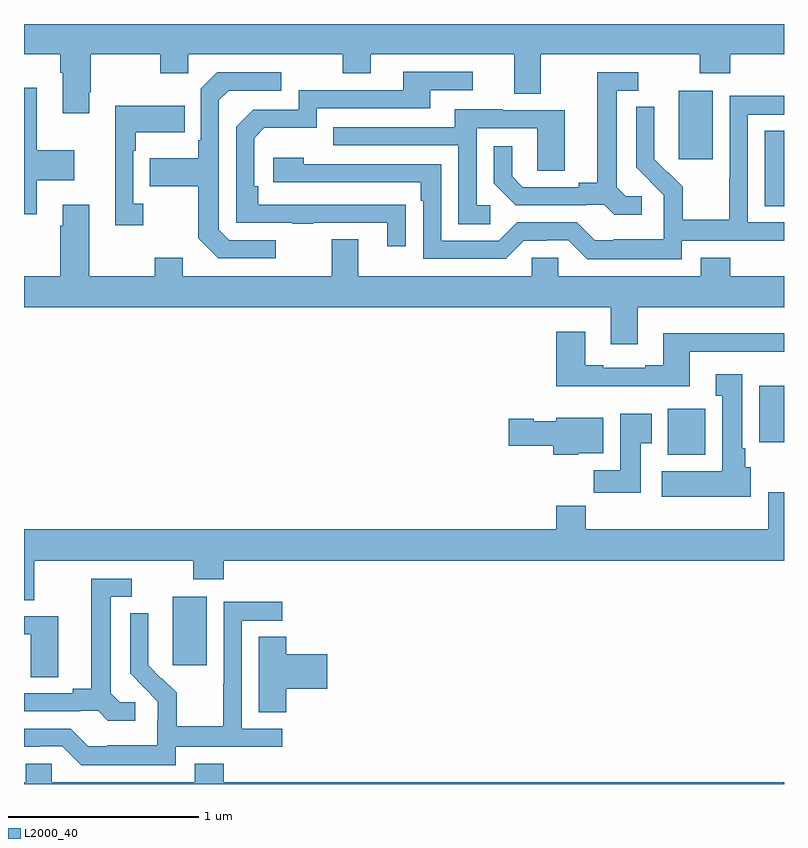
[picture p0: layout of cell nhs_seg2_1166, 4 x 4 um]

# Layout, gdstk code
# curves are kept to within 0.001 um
import gdstk
lib = gdstk.Library(unit=1e-6, precision=1e-09)
def R(c, l, rs):  # rectangles x0, y0, x1, y1
    for r in rs: c.add(gdstk.rectangle(r[:2], r[2:], *l))
def P(c, l, *ps):  # polygons
    for p in ps: c.add(gdstk.Polygon(p, *l))
L2000_40 = (2000, 40)

nhs_seg2_1166 = lib.new_cell('nhs_seg2_1166')
R(nhs_seg2_1166, L2000_40, [(171.782,640.425,171.961,640.786), (174.389,641.534,174.586,641.776), (174.869,641.6,175,641.896), (174.899,642.841,175,643.238), (174.446,643.089,174.625,643.45)])
P(nhs_seg2_1166, L2000_40, [(171.343,643.441),(171.351,643.441),(171.351,643.64),(171.718,643.64),(171.718,643.541),(171.864,643.541),(171.864,643.64),(172.678,643.64),(172.678,643.541),(172.825,643.541),(172.825,643.64),(173.579,643.64),(173.579,643.432),(173.719,643.432),(173.719,643.64),(174.556,643.64),(174.556,643.541),(174.716,643.541),(174.716,643.64),(175,643.64),(175,643.8),(171,643.8),(171,643.64),(171.191,643.64),(171.191,643.544),(171.203,643.544),(171.203,643.329),(171.343,643.329)],
  [(173.009,642.848),(172.232,642.849),(172.232,642.946),(172.212,642.946),(172.212,643.2),(172.265,643.253),(172.542,643.253),(172.542,643.356),(173.137,643.356),(173.137,643.452),(173.362,643.452),(173.362,643.548),(172.997,643.548),(172.997,643.452),(172.446,643.452),(172.446,643.35),(172.206,643.35),(172.116,643.26),(172.116,642.753),(172.411,642.753),(172.411,642.748),(172.523,642.748),(172.523,642.753),(172.913,642.753),(172.913,642.63),(173.009,642.63)],
  [(174.25,642.894),(174.168,642.894),(174.121,642.941),(174.121,643.449),(174.232,643.449),(174.232,643.545),(174.017,643.545),(174.017,642.965),(173.921,642.965),(173.921,642.942),(173.626,642.942),(173.569,642.999),(173.569,643.156),(173.472,643.156),(173.472,642.962),(173.588,642.846),(173.96,642.846),(173.96,642.849),(174.054,642.849),(174.106,642.797),(174.25,642.797)],
  [(172.324,642.663),(172.08,642.663),(172.026,642.717),(172.026,643.398),(172.077,643.449),(172.354,643.449),(172.354,643.545),(172.017,643.545),(171.93,643.458),(171.93,643.189),(171.918,643.189),(171.918,643.093),(171.661,643.093),(171.661,642.946),(171.918,642.946),(171.918,642.673),(172.023,642.567),(172.324,642.567)],
  [(171.067,642.977),(171.265,642.977),(171.265,643.135),(171.067,643.135),(171.067,643.465),(171,643.465),(171,642.798),(171.067,642.798)],
  [(174.462,642.66),(175,642.66),(175,642.756),(174.81,642.756),(174.81,643.323),(175,643.323),(175,643.422),(174.714,643.422),(174.714,642.992),(174.712,642.992),(174.712,642.769),(174.467,642.769),(174.467,642.943),(174.39,643.02),(174.387,643.017),(174.317,643.088),(174.318,643.364),(174.222,643.364),(174.222,643.046),(174.368,642.898),(174.368,642.801),(174.366,642.801),(174.366,642.667),(174.103,642.667),(174.103,642.663),(174.003,642.663),(173.91,642.756),(173.595,642.756),(173.499,642.66),(173.196,642.66),(173.196,643.062),(172.472,643.062),(172.472,643.096),(172.311,643.096),(172.311,642.966),(173.087,642.966),(173.087,642.869),(173.1,642.869),(173.1,642.564),(173.535,642.564),(173.631,642.66),(173.75,642.66),(173.75,642.663),(173.865,642.663),(173.965,642.563),(174.462,642.563)],
  [(171.628,642.854),(171.576,642.854),(171.576,643.133),(171.589,643.133),(171.589,643.229),(171.845,643.229),(171.845,643.369),(171.479,643.369),(171.479,642.741),(171.628,642.741)],
  [(173.455,642.846),(173.382,642.846),(173.382,643.251),(173.7,643.251),(173.7,643.027),(173.845,643.027),(173.845,643.347),(173.521,643.347),(173.521,643.351),(173.267,643.351),(173.267,643.257),(172.627,643.257),(172.627,643.161),(173.286,643.161),(173.286,642.745),(173.455,642.745)],
  [(174.089,642.114),(174.229,642.114),(174.229,642.308),(175,642.308),(175,642.472),(174.716,642.472),(174.716,642.571),(174.563,642.571),(174.563,642.472),(173.811,642.472),(173.811,642.57),(173.673,642.57),(173.673,642.472),(172.759,642.472),(172.759,642.667),(172.619,642.667),(172.619,642.472),(171.835,642.472),(171.835,642.571),(171.688,642.571),(171.688,642.472),(171.343,642.472),(171.343,642.85),(171.203,642.85),(171.203,642.737),(171.191,642.737),(171.191,642.472),(171,642.472),(171,642.308),(174.089,642.308)],
  [(174.505,642.075),(175,642.075),(175,642.172),(174.365,642.172),(174.365,642.004),(174.269,642.004),(174.269,641.991),(174.049,641.991),(174.049,642.004),(173.953,642.004),(173.953,642.181),(173.801,642.181),(173.801,641.894),(174.505,641.894)],
  [(174.826,641.466),(174.796,641.466),(174.796,641.566),(174.781,641.566),(174.781,641.956),(174.641,641.956),(174.641,641.843),(174.674,641.843),(174.674,641.446),(174.357,641.446),(174.357,641.312),(174.826,641.312)],
  [(174.247,641.593),(174.304,641.593),(174.304,641.749),(174.137,641.749),(174.137,641.452),(173.998,641.452),(173.998,641.334),(174.247,641.334)],
  [(173.916,641.54),(174.049,641.54),(174.049,641.728),(173.802,641.728),(173.802,641.71),(173.682,641.71),(173.682,641.723),(173.55,641.723),(173.55,641.581),(173.786,641.581),(173.786,641.534),(173.916,641.534)],
  [(171.055,640.976),(171.892,640.976),(171.892,640.877),(172.052,640.877),(172.052,640.976),(175,640.976),(175,641.335),(174.917,641.335),(174.917,641.14),(173.957,641.14),(173.957,641.264),(173.801,641.264),(173.801,641.14),(171,641.14),(171,640.768),(171.055,640.768)],
  [(171.586,640.23),(171.504,640.23),(171.457,640.277),(171.457,640.785),(171.568,640.785),(171.568,640.881),(171.353,640.881),(171.353,640.301),(171.257,640.301),(171.257,640.278),(171,640.278),(171,640.182),(171.296,640.182),(171.296,640.185),(171.39,640.185),(171.442,640.133),(171.586,640.133)],
  [(171.798,639.996),(172.36,639.996),(172.36,640.092),(172.146,640.092),(172.146,640.659),(172.36,640.659),(172.36,640.758),(172.05,640.758),(172.05,640.328),(172.048,640.328),(172.048,640.105),(171.803,640.105),(171.803,640.279),(171.726,640.356),(171.723,640.353),(171.653,640.424),(171.654,640.7),(171.558,640.7),(171.558,640.382),(171.704,640.234),(171.704,640.137),(171.702,640.137),(171.702,640.003),(171.439,640.003),(171.439,639.999),(171.339,639.999),(171.246,640.092),(171,640.092),(171,639.996),(171.086,639.996),(171.086,639.999),(171.201,639.999),(171.301,639.899),(171.798,639.899)],
  [(171.181,640.683),(171,640.683),(171,640.587),(171.036,640.587),(171.036,640.363),(171.181,640.363)],
  [(172.379,640.301),(172.597,640.301),(172.597,640.484),(172.379,640.484),(172.379,640.574),(172.235,640.574),(172.235,640.177),(172.379,640.177)],
  [(175,639.808),(172.052,639.808),(172.052,639.907),(171.899,639.907),(171.899,639.808),(171.147,639.808),(171.147,639.906),(171.009,639.906),(171.009,639.808),(171,639.808),(171,639.8),(175,639.8)])

lib.write_gds('nhs_seg2_1166.gds')
